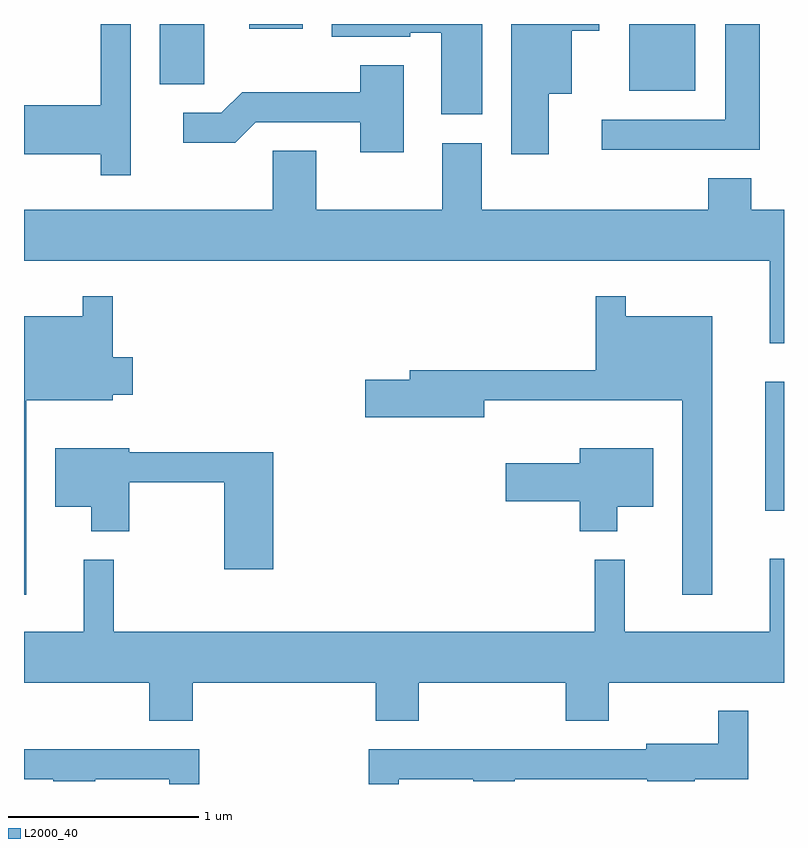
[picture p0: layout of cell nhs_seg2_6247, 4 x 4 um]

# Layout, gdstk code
import gdstk
lib = gdstk.Library(unit=1e-6, precision=1e-09)
def R(c, l, rs):  # rectangles x0, y0, x1, y1
    for r in rs: c.add(gdstk.rectangle(r[:2], r[2:], *l))
def P(c, l, *ps):  # polygons
    for p in ps: c.add(gdstk.Polygon(p, *l))
L2000_40 = (2000, 40)

nhs_seg2_6247 = lib.new_cell('nhs_seg2_6247')
R(nhs_seg2_6247, L2000_40, [(373.511,1029.241,373.611,1029.919), (372.796,1031.451,373.144,1031.802), (370.326,1031.486,370.559,1031.802), (370.796,1031.776,371.079,1031.802)])
P(nhs_seg2_6247, L2000_40, [(373.484,1031.802),(373.301,1031.802),(373.301,1031.299),(372.653,1031.299),(372.653,1031.141),(373.484,1031.141)],
  [(372.024,1031.802),(371.231,1031.802),(371.231,1031.736),(371.644,1031.736),(371.644,1031.756),(371.806,1031.756),(371.806,1031.326),(372.024,1031.326)],
  [(370.174,1031.802),(370.016,1031.802),(370.016,1031.374),(369.611,1031.374),(369.611,1031.116),(370.016,1031.116),(370.016,1031.007),(370.174,1031.007)],
  [(372.374,1031.436),(372.494,1031.436),(372.494,1031.766),(372.639,1031.766),(372.639,1031.802),(372.176,1031.802),(372.176,1031.116),(372.374,1031.116)],
  [(371.609,1031.584),(371.381,1031.584),(371.381,1031.444),(370.759,1031.444),(370.649,1031.334),(370.448,1031.334),(370.448,1031.176),(370.722,1031.176),(370.832,1031.286),(371.381,1031.286),(371.381,1031.126),(371.609,1031.126)],
  [(373.611,1030.824),(373.439,1030.824),(373.439,1030.989),(373.211,1030.989),(373.211,1030.824),(372.019,1030.824),(372.019,1031.174),(371.811,1031.174),(371.811,1030.824),(371.149,1030.824),(371.149,1031.134),(370.921,1031.134),(370.921,1030.824),(369.611,1030.824),(369.611,1030.556),(373.536,1030.556),(373.536,1030.123),(373.611,1030.123)],
  [(369.624,1029.821),(370.079,1029.821),(370.079,1029.851),(370.184,1029.851),(370.184,1030.049),(370.079,1030.049),(370.079,1030.368),(369.921,1030.368),(369.921,1030.264),(369.611,1030.264),(369.611,1028.798),(369.624,1028.798)],
  [(373.234,1030.264),(372.779,1030.264),(372.779,1030.368),(372.621,1030.368),(372.621,1029.979),(371.641,1029.979),(371.641,1029.929),(371.406,1029.929),(371.406,1029.731),(372.034,1029.731),(372.034,1029.821),(373.076,1029.821),(373.076,1028.798),(373.234,1028.798)],
  [(370.924,1029.549),(370.164,1029.549),(370.164,1029.569),(369.776,1029.569),(369.776,1029.261),(369.966,1029.261),(369.966,1029.131),(370.164,1029.131),(370.164,1029.391),(370.666,1029.391),(370.666,1028.931),(370.924,1028.931)],
  [(372.734,1029.261),(372.924,1029.261),(372.924,1029.569),(372.536,1029.569),(372.536,1029.489),(372.146,1029.489),(372.146,1029.291),(372.536,1029.291),(372.536,1029.131),(372.734,1029.131)],
  [(370.499,1028.336),(371.461,1028.336),(371.461,1028.136),(371.689,1028.136),(371.689,1028.336),(372.461,1028.336),(372.461,1028.136),(372.689,1028.136),(372.689,1028.336),(373.611,1028.336),(373.611,1028.988),(373.536,1028.988),(373.536,1028.604),(372.774,1028.604),(372.774,1028.983),(372.616,1028.983),(372.616,1028.604),(370.084,1028.604),(370.084,1028.983),(369.926,1028.983),(369.926,1028.604),(369.611,1028.604),(369.611,1028.336),(370.271,1028.336),(370.271,1028.136),(370.499,1028.136)],
  [(371.584,1027.826),(371.975,1027.826),(371.975,1027.816),(372.195,1027.816),(372.195,1027.826),(372.89,1027.826),(372.89,1027.816),(373.14,1027.816),(373.14,1027.826),(373.424,1027.826),(373.424,1028.188),(373.266,1028.188),(373.266,1028.014),(372.886,1028.014),(372.886,1027.984),(371.426,1027.984),(371.426,1027.802),(371.584,1027.802)],
  [(370.534,1027.984),(369.611,1027.984),(369.611,1027.826),(369.765,1027.826),(369.765,1027.816),(369.985,1027.816),(369.985,1027.826),(370.376,1027.826),(370.376,1027.802),(370.534,1027.802)])

lib.write_gds('nhs_seg2_6247.gds')
